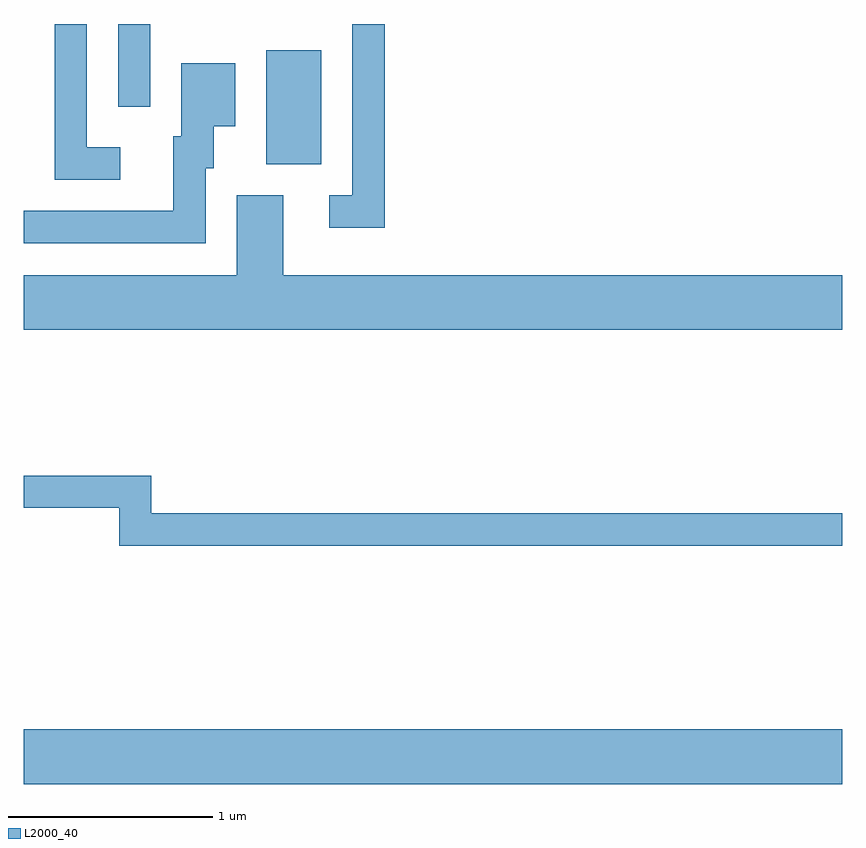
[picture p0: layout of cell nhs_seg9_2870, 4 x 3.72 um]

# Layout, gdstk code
import gdstk
lib = gdstk.Library(unit=1e-6, precision=1e-09)
def R(c, l, rs):  # rectangles x0, y0, x1, y1
    for r in rs: c.add(gdstk.rectangle(r[:2], r[2:], *l))
def P(c, l, *ps):  # polygons
    for p in ps: c.add(gdstk.Polygon(p, *l))
L2000_40 = (2000, 40)

nhs_seg9_2870 = lib.new_cell('nhs_seg9_2870')
R(nhs_seg9_2870, L2000_40, [(269.611,1980.716,273.611,1980.984), (270.796,1983.746,271.064,1984.304), (270.071,1984.028,270.229,1984.432)])
P(nhs_seg9_2870, L2000_40, [(271.374,1984.432),(271.216,1984.432),(271.216,1983.594),(271.103,1983.594),(271.103,1983.436),(271.374,1983.436)],
  [(270.083,1983.829),(269.919,1983.829),(269.919,1984.432),(269.761,1984.432),(269.761,1983.671),(270.083,1983.671)],
  [(270.499,1983.726),(270.539,1983.726),(270.539,1983.931),(270.644,1983.931),(270.644,1984.239),(270.381,1984.239),(270.381,1983.884),(270.341,1983.884),(270.341,1983.519),(269.611,1983.519),(269.611,1983.361),(270.499,1983.361)],
  [(273.611,1983.204),(270.879,1983.204),(270.879,1983.594),(270.651,1983.594),(270.651,1983.204),(269.611,1983.204),(269.611,1982.936),(273.611,1982.936)],
  [(273.611,1982.039),(270.234,1982.039),(270.234,1982.224),(269.611,1982.224),(269.611,1982.066),(270.076,1982.066),(270.076,1981.881),(273.611,1981.881)])

lib.write_gds('nhs_seg9_2870.gds')
